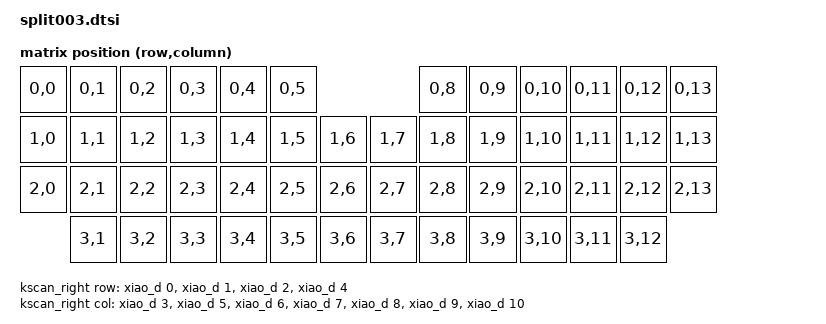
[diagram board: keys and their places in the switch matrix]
#include <dt-bindings/zmk/matrix_transform.h>
#include <dt-bindings/zmk/input_transform.h>
#include <input/processors.dtsi>

/ {
    chosen {
        zmk,kscan = &kscan;
        zmk,matrix_transform = &default_transform;
    };

    default_transform: keymap_transform0 {
        compatible = "zmk,matrix-transform";
        rows = <4>;
        columns = <14>;
        
        map = <
            RC(0,0) RC(0,1) RC(0,2) RC(0,3) RC(0,4) RC(0,5)                        RC(0,8) RC(0,9) RC(0,10) RC(0,11) RC(0,12) RC(0,13)
            RC(1,0) RC(1,1) RC(1,2) RC(1,3) RC(1,4) RC(1,5) RC(1,6)        RC(1,7) RC(1,8) RC(1,9) RC(1,10) RC(1,11) RC(1,12) RC(1,13)
            RC(2,0) RC(2,1) RC(2,2) RC(2,3) RC(2,4) RC(2,5) RC(2,6)        RC(2,7) RC(2,8) RC(2,9) RC(2,10) RC(2,11) RC(2,12) RC(2,13)
                    RC(3,1) RC(3,2) RC(3,3) RC(3,4) RC(3,5) RC(3,6)        RC(3,7) RC(3,8) RC(3,9) RC(3,10) RC(3,11) RC(3,12)
                    
        >;
    };

    kscan: kscan {
        compatible = "zmk,kscan-composite";
        rows = <4>;
        columns = <14>;

        left {
            kscan = <&kscan_left>;
        };

        right {
            kscan = <&kscan_right>;
            column-offset = <7>;
        };
    };
};

&kscan_left: kscan_left {
        compatible = "zmk,kscan-gpio-matrix";
        diode-direction = "col2row";
        status = "okay";
        wakeup-source;
        row-gpios
            =   <&mcp_io 0 (GPIO_ACTIVE_HIGH | GPIO_PULL_DOWN)>,
                <&mcp_io 1 (GPIO_ACTIVE_HIGH | GPIO_PULL_DOWN)>,
                <&mcp_io 2 (GPIO_ACTIVE_HIGH | GPIO_PULL_DOWN)>,
                <&mcp_io 4 (GPIO_ACTIVE_HIGH | GPIO_PULL_DOWN)>;

        col-gpios
            =   <&mcp_io 3 (GPIO_ACTIVE_HIGH | GPIO_PULL_DOWN)>,
                <&mcp_io 5 (GPIO_ACTIVE_HIGH | GPIO_PULL_DOWN)>,
                <&mcp_io 6 (GPIO_ACTIVE_HIGH | GPIO_PULL_DOWN)>,
                <&mcp_io 7 (GPIO_ACTIVE_HIGH | GPIO_PULL_DOWN)>,
                <&mcp_io 8 (GPIO_ACTIVE_HIGH | GPIO_PULL_DOWN)>,
                <&mcp_io 9 (GPIO_ACTIVE_HIGH | GPIO_PULL_DOWN)>,
                <&mcp_io 10 (GPIO_ACTIVE_HIGH | GPIO_PULL_DOWN)>;
};

&xiao_i2c {
    compatible = "nordic,nrf-twim";
    status = "okay";
    pinctrl-0 = <&i2c0_default>;
    pinctrl-1 = <&i2c0_sleep>;
    clock-frequency = <I2C_BITRATE_FAST>;

    mcp_io: mcp23017@21 {
        compatible = "microchip,mcp230xx";
        status = "okay";
        gpio-controller;
        reg = <0x21>;
        #gpio-cells = <2>;
        ngpios = <16>;
    };
};

kscan_right: kscan_right {
    compatible = "zmk,kscan-gpio-matrix";
        diode-direction = "col2row";
        status = "okay";
        wakeup-source;
        row-gpios
            =   <&xiao_d 0 (GPIO_ACTIVE_HIGH | GPIO_PULL_DOWN)>,
                <&xiao_d 1 (GPIO_ACTIVE_HIGH | GPIO_PULL_DOWN)>,
                <&xiao_d 2 (GPIO_ACTIVE_HIGH | GPIO_PULL_DOWN)>,
                <&xiao_d 4 (GPIO_ACTIVE_HIGH | GPIO_PULL_DOWN)>;

        col-gpios
            =   <&xiao_d 3 (GPIO_ACTIVE_HIGH | GPIO_PULL_DOWN)>,
                <&xiao_d 5 (GPIO_ACTIVE_HIGH | GPIO_PULL_DOWN)>,
                <&xiao_d 6 (GPIO_ACTIVE_HIGH | GPIO_PULL_DOWN)>,
                <&xiao_d 7 (GPIO_ACTIVE_HIGH | GPIO_PULL_DOWN)>,
                <&xiao_d 8 (GPIO_ACTIVE_HIGH | GPIO_PULL_DOWN)>,
                <&xiao_d 9 (GPIO_ACTIVE_HIGH | GPIO_PULL_DOWN)>,
                <&xiao_d 10 (GPIO_ACTIVE_HIGH | GPIO_PULL_DOWN)>;
};



    

